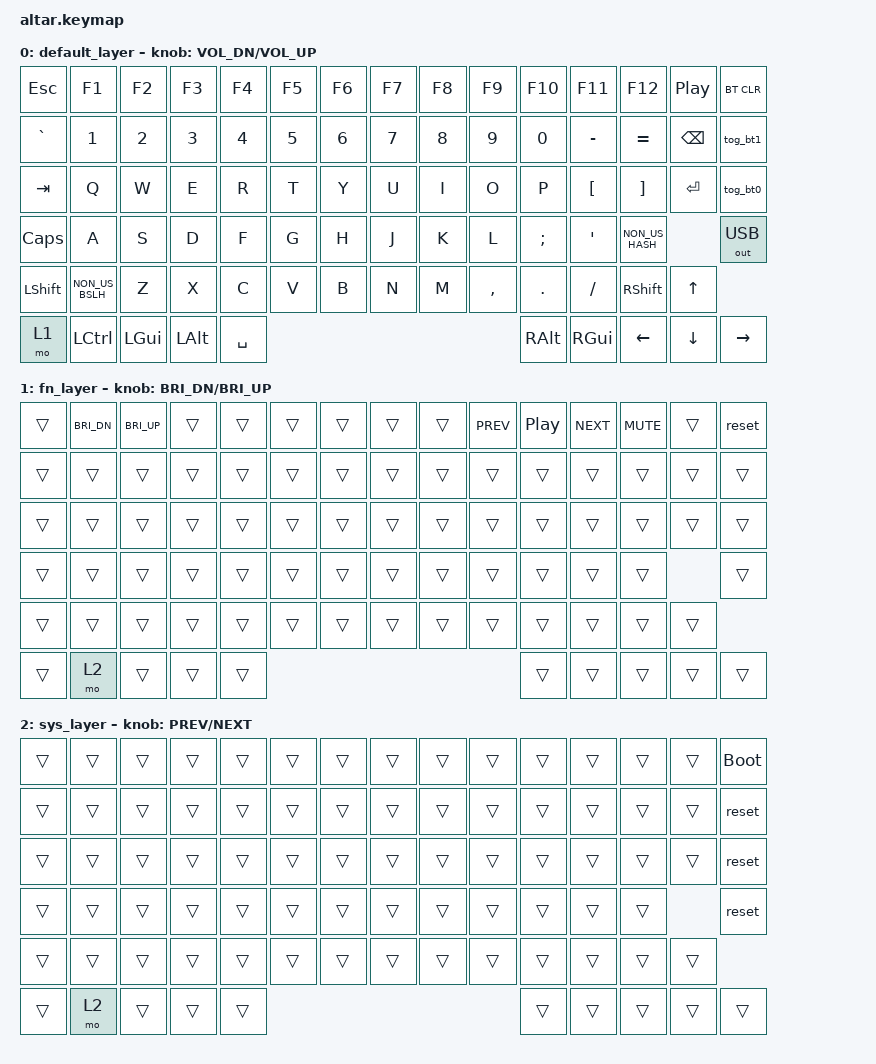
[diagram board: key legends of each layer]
/*
 * Copyright (c) 2022 The ZMK Contributors
 *
 * SPDX-License-Identifier: MIT
 */

#include <behaviors.dtsi>
#include <dt-bindings/zmk/keys.h>
#include <dt-bindings/zmk/bt.h>
#include <dt-bindings/zmk/outputs.h>

/ {
    macros {
        tog_bt0: tog_bt0 {
            label = "tog_bt0";
            compatible = "zmk,behavior-macro";
            #binding-cells = <0>;
			wait-ms = <40>;
			tap-ms = <40>;
            bindings
                = <&out OUT_BLE &bt BT_SEL 0>
                ;
        };
        tog_bt1: tog_bt1 {
            label = "tog_bt1";
            compatible = "zmk,behavior-macro";
            #binding-cells = <0>;
			wait-ms = <40>;
			tap-ms = <40>;
            bindings
                = <&out OUT_BLE &bt BT_SEL 1>
                ;
        };
    };
};

/ {
	keymap {
		compatible = "zmk,keymap";

		default_layer {
// -----------------------------------------------------------------------------------------
// | ESC   | F1    | F2    | F3    | F4    | F5    | F6    | F7    | F8    | F9    | F10   | F11   | F12   | P/P   |               PAIR |
// | ~     | 1     | 2     | 3     | 4     | 5     | 6     | 7     | 8     | 9     | 0     | -     |  =    | BSPC  |               BT2  |
// | TAB   | Q     | W     | E     | R     | T     | Y     | U     | I     | O     | P     | [     |  ]    | ENTER |               BT1  |
// | CAPS  | A     | S     | D     | F     | G     | H     | J     | K     | L     | ;     | '     | NUHS  | 	   |               USB  |
// | SHIFT | NUBS  | Z     | X     | C     | V     | B     | N     | M     | ,     | .     | /     | SHFT  | UP    |
// | FN1   | CTRL  | WIN   | ALT   |                 SPACE                         | ALT   | WIN   | LFT   | DWN   | RGT   |

			bindings = <
	&kp ESC          &kp F1           &kp F2           &kp F3        &kp F4        &kp F5           &kp F6           &kp F7           &kp F8           &kp F9           &kp F10          &kp F11          &kp F12          &kp C_PLAY_PAUSE               &bt BT_CLR
	&kp GRAVE        &kp N1           &kp N2           &kp N3        &kp N4        &kp N5           &kp N6           &kp N7           &kp N8           &kp N9           &kp N0           &kp MINUS        &kp EQUAL        &kp BSPC                       &tog_bt1
	&kp TAB          &kp Q            &kp W            &kp E         &kp R         &kp T            &kp Y            &kp U            &kp I            &kp O            &kp P            &kp LBKT         &kp RBKT         &kp RET                        &tog_bt0
	&kp CAPS         &kp A            &kp S            &kp D         &kp F         &kp G            &kp H            &kp J            &kp K            &kp L            &kp SEMI         &kp SQT          &kp NON_US_HASH                                 &out OUT_USB
	&kp LSHIFT       &kp NON_US_BSLH  &kp Z            &kp X         &kp C         &kp V            &kp B            &kp N            &kp M            &kp COMMA        &kp  DOT         &kp FSLH         &kp RSHIFT       &kp UP
    &mo 1            &kp LCTRL        &kp LGUI         &kp LALT                                     &kp SPACE                                                           &kp RALT         &kp RGUI         &kp LEFT         &kp DOWN         &kp RIGHT
			>;
			
			sensor-bindings = <&inc_dec_kp C_VOL_DN C_VOL_UP>;
		};

		fn_layer {
// -----------------------------------------------------------------------------------------
// |       | BRI_DN| BRI_UP|       |       |       |       |       |       | PREV  | P/P   | NEXT  | MUTE  |       |
// |       |       |       |       |       |       |       |       |       |       |       |       |       |       |
// |       |       |       |       |       |       |       |       |       |       |       |       |       |       |
// |       |       |       |       |       |       |       |       |       |       |       |       |       | 	   |              RESET |
// |       |       |       |       |       |       |       |       |       |       |       |       |       |       |
// |       | FN2   |       |       |                                               |       |       |       |       |       |

			bindings = <
	&trans           &kp C_BRI_DN     &kp C_BRI_UP     &trans        &trans        &trans           &trans           &trans           &trans           &kp C_PREV       &kp C_PLAY_PAUSE &kp C_NEXT       &kp C_MUTE       &trans                         &reset
	&trans           &trans           &trans           &trans        &trans        &trans           &trans           &trans           &trans           &trans           &trans           &trans           &trans           &trans                         &trans
	&trans           &trans           &trans           &trans        &trans        &trans           &trans           &trans           &trans           &trans           &trans           &trans           &trans           &trans                         &trans
	&trans           &trans           &trans           &trans        &trans        &trans           &trans           &trans           &trans           &trans           &trans           &trans           &trans                                          &trans
	&trans           &trans           &trans           &trans        &trans        &trans           &trans           &trans           &trans           &trans           &trans           &trans           &trans           &trans
    &trans           &mo 2            &trans           &trans                                       &trans                                                              &trans           &trans           &trans           &trans           &trans
			>;

			sensor-bindings = <&inc_dec_kp C_BRI_DN C_BRI_UP>;
		};

				sys_layer {
// -----------------------------------------------------------------------------------------
// |       |       |       |       |       |       |       |       |       |       |       |       |       |       |
// |       |       |       |       |       |       |       |       |       |       |       |       |       |       |
// |       |       |       |       |       |       |       |       |       |       |       |       |       |       |
// |       |       |       |       |       |       |       |       |       |       |       |       |       | 	   |         BOOTLOADER |
// |       |       |       |       |       |       |       |       |       |       |       |       |       |       |
// |       |       |       |       |                                               |       |       |       |       |       |

			bindings = <
	&trans           &trans           &trans           &trans        &trans        &trans           &trans           &trans           &trans           &trans           &trans           &trans           &trans           &trans                         &bootloader
	&trans           &trans           &trans           &trans        &trans        &trans           &trans           &trans           &trans           &trans           &trans           &trans           &trans           &trans                         &reset
	&trans           &trans           &trans           &trans        &trans        &trans           &trans           &trans           &trans           &trans           &trans           &trans           &trans           &trans                         &reset
	&trans           &trans           &trans           &trans        &trans        &trans           &trans           &trans           &trans           &trans           &trans           &trans           &trans                                          &reset
	&trans           &trans           &trans           &trans        &trans        &trans           &trans           &trans           &trans           &trans           &trans           &trans           &trans           &trans
    &trans           &mo 2            &trans           &trans                                       &trans                                                              &trans           &trans           &trans           &trans           &trans
			>;

			sensor-bindings =<&inc_dec_kp C_PREV C_NEXT>;
		};
	};
};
